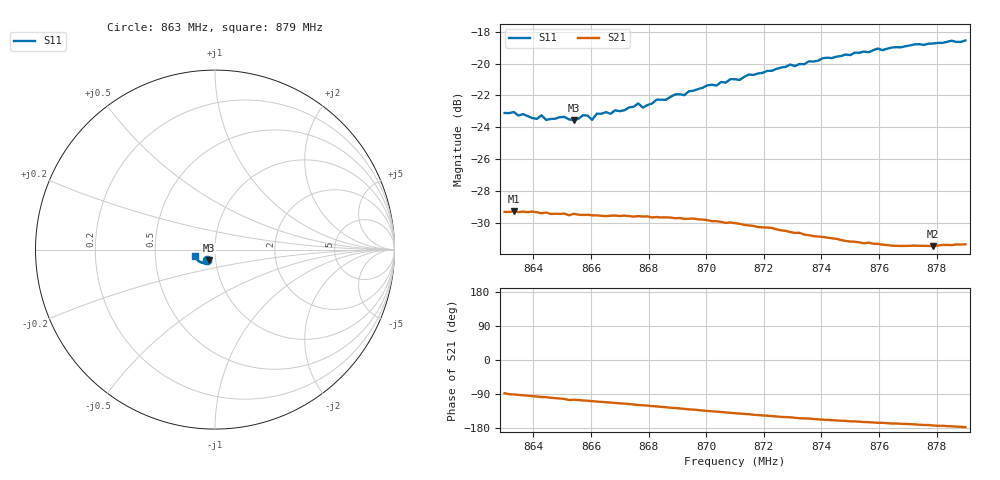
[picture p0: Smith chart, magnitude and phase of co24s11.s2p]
# HZ S RI R 50
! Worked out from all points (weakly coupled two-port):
!   101 points, 863 MHz to 879 MHz, reference 50 ohm
!   highest |S21| = -29.24 dB at 863.32 MHz (marker M1); lowest = -31.4 dB at 877.88 MHz (marker M2)
!   lowest |S11| = -23.5 dB at 865.4 MHz (marker M3), VSWR 1.14, Z = 46.4 - j5.35 ohm
!   |S11| at or under -10 dB: start of sweep to end of sweep
!   S12 and S22 are empty: the file has one direction only
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8.63e8  -0.0421 -0.0559  0.00134 -0.0343  0 0  0 0
8.6332e8  -0.0431 -0.0558  -0.000567 -0.0345  0 0  0 0
8.6348e8  -0.0408 -0.0553  -0.00123 -0.0343  0 0  0 0
8.6364e8  -0.0417 -0.0556  -0.00192 -0.0344  0 0  0 0
8.6412e8  -0.0375 -0.0557  -0.00376 -0.034  0 0  0 0
8.6428e8  -0.0383 -0.0572  -0.00454 -0.0337  0 0  0 0
8.6444e8  -0.0386 -0.0543  -0.00478 -0.0339  0 0  0 0
8.6508e8  -0.0373 -0.0569  -0.00752 -0.0331  0 0  0 0
8.654e8  -0.0337 -0.0573  -0.00865 -0.0327  0 0  0 0
8.6572e8  -0.0362 -0.0586  -0.0097 -0.0321  0 0  0 0
8.6604e8  -0.0326 -0.0581  -0.0107 -0.0317  0 0  0 0
8.662e8  -0.0353 -0.0601  -0.0113 -0.0315  0 0  0 0
8.6668e8  -0.0331 -0.0612  -0.0127 -0.0309  0 0  0 0
8.6764e8  -0.0364 -0.0656  -0.016 -0.0292  0 0  0 0
8.678e8  -0.0348 -0.0639  -0.0163 -0.0289  0 0  0 0
8.6844e8  -0.0372 -0.0675  -0.0183 -0.0274  0 0  0 0
8.71e8  -0.0492 -0.0745  -0.0244 -0.0201  0 0  0 0
8.7292e8  -0.0642 -0.0757  -0.026 -0.0143  0 0  0 0
8.7372e8  -0.069 -0.0744  -0.0262 -0.0119  0 0  0 0
8.7644e8  -0.0941 -0.0611  -0.0263 -0.0058  0 0  0 0
8.7788e8  -0.1046 -0.049  -0.0266 -0.00333  0 0  0 0
8.79e8  -0.1118 -0.038  -0.0272 -0.00124  0 0  0 0
